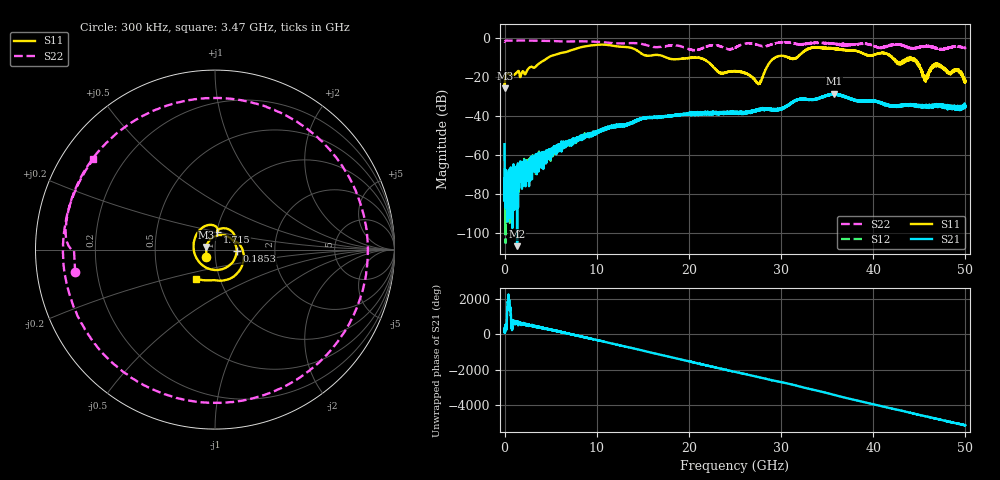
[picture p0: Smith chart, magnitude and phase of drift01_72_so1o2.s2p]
!Created with skrf (http://scikit-rf.org).
# Hz S RI R 50.0
!freq ReS11 ImS11 ReS21 ImS21 ReS12 ImS12 ReS22 ImS22
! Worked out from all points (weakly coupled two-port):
!   10001 points, 300 kHz to 50 GHz, reference 50 ohm
!   highest |S21| = -28.67 dB at 35.76 GHz (marker M1); lowest = -106.6 dB at 1.355 GHz (marker M2)
!   lowest |S11| = -25.8 dB at 5.3 MHz (marker M3), VSWR 1.11, Z = 45.3 + j1.39 ohm
!   |S11| at or under -10 dB: start of sweep to 4.768 GHz; 17.52 GHz to 29.39 GHz (11.87 GHz wide, 50.6 % of centre); 43.99 GHz to end of sweep (the widest 3 of 9)
!   |S22| runs from -6.4 to -1.4 dB; largest |S21 - S12| = 0.0038
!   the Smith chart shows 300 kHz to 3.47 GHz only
!   S11 on the Smith chart (normalised r, x): 300 kHz: 0.90, -0.08; 185.3 MHz: 1.27, -0.02; 1.715 GHz: 1.00, +0.20; 3.47 GHz: 0.77, -0.26
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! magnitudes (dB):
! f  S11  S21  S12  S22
! 300 kHz  -23.9  -54.5  -66.7  -2.1
! 5.3 MHz  -25.8  -81.0  -69.5  -2.1
! 185.3 MHz  -18.4  -83.8  -86.1  -1.4
! 255.3 MHz  -18.3  -75.5  -88.3  -1.4
! 1.355 GHz  -17.6  -106.6  -70.3  -1.4
! 1.715 GHz  -19.9  -65.4  -68.1  -1.4
! 3.47 GHz  -14.3  -63.4  -64.7  -1.5
! 8.335 GHz  -4.8  -50.8  -51.4  -1.8
! 16.67 GHz  -8.8  -40.7  -40.9  -4.8
! 21.21 GHz  -10.4  -38.3  -39.2  -5.8
! 25 GHz  -17.0  -38.4  -38.4  -5.0
! 27.6 GHz  -23.2  -36.4  -36.8  -3.8
! 29.28 GHz  -10.3  -37.1  -36.8  -2.9
! 31.47 GHz  -10.7  -32.4  -32.4  -2.9
! 33.34 GHz  -5.1  -31.7  -31.6  -2.7
! 35.76 GHz  -5.4  -28.7  -29.0  -3.1
! 41.67 GHz  -8.6  -34.7  -34.8  -4.2
! 42.78 GHz  -13.3  -35.3  -34.7  -3.5
! 44.49 GHz  -11.1  -34.2  -34.6  -5.3
! 45.63 GHz  -22.0  -35.5  -35.2  -4.4
! 46.95 GHz  -13.5  -34.1  -34.8  -5.4
! 50 GHz  -22.1  -35.0  -35.0  -5.2
